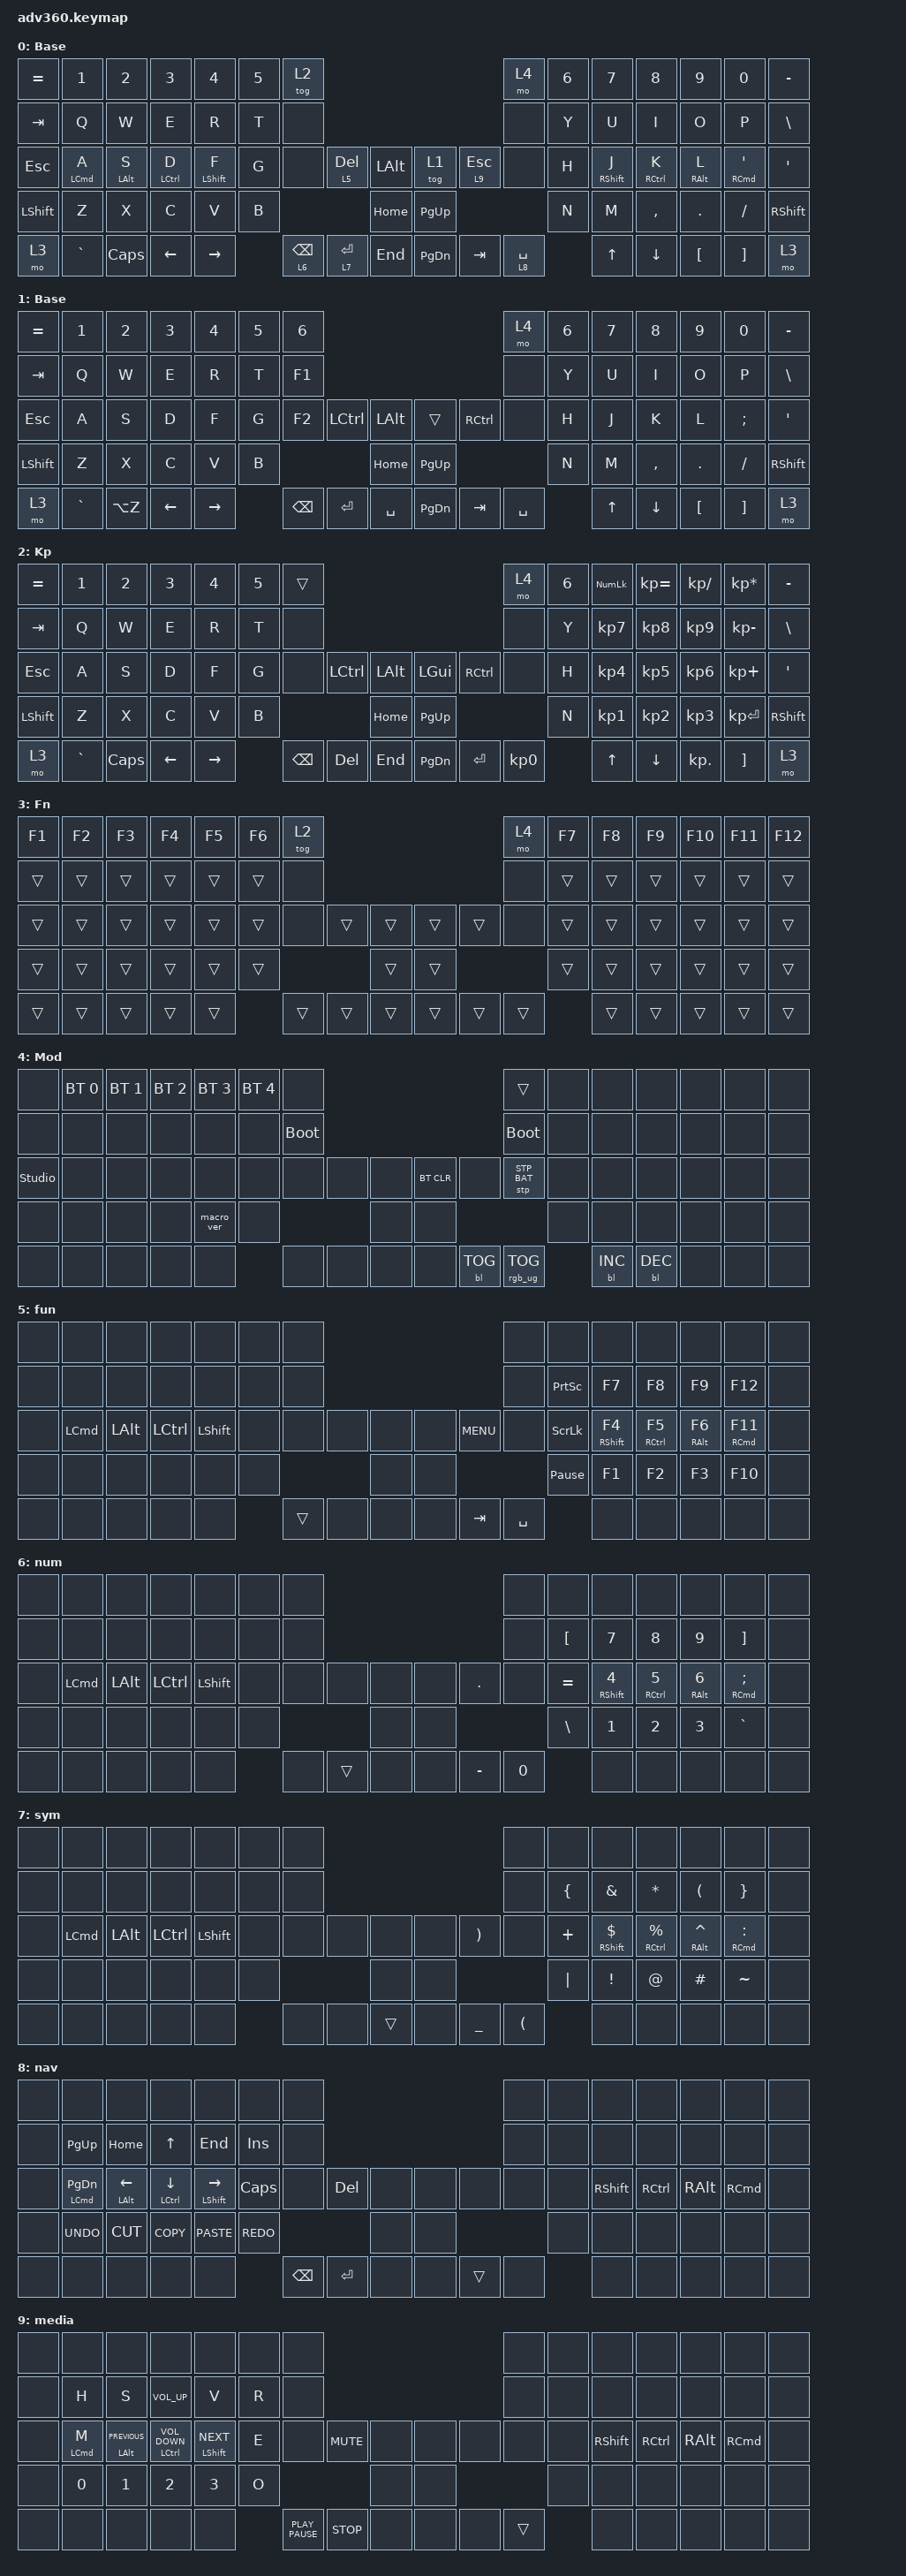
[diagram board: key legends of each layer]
#include <dt-bindings/zmk/stp.h>
#include <behaviors.dtsi>
#include <dt-bindings/zmk/backlight.h>
#include <dt-bindings/zmk/bt.h>
#include <dt-bindings/zmk/keys.h>
#include <dt-bindings/zmk/rgb.h>

&lt {
    tapping-term-ms = <180>;
    quick-tap-ms = <160>;
    require-prior-idle-ms = <0>;
    flavor = "balanced";
};

/ {
    behaviors {
        #include "macros.dtsi"
      #include "version.dtsi"

        hm: homerow_mods {
            compatible = "zmk,behavior-hold-tap";
            label = "HOMEROW_MODS";
            #binding-cells = <2>;
            tapping-term-ms = <180>;
            flavor = "balanced";
            bindings = <&kp>, <&kp>;

            quick-tap-ms = <160>;
            require-prior-idle-ms = <0>;
        };
    };

    combos { compatible = "zmk,combos"; };

    keymap {
        compatible = "zmk,keymap";

        default_layer {
            display-name = "Base";
            bindings = <
&kp EQUAL  &kp N1              &kp N2          &kp N3              &kp N4            &kp N5  &tog 2                                                                   &mo 4        &kp N6  &kp N7             &kp N8               &kp N9           &kp N0                 &kp MINUS
&kp TAB    &kp Q               &kp W           &kp E               &kp R             &kp T   &none                                                                    &none        &kp Y   &kp U              &kp I                &kp O            &kp P                  &kp BSLH
&kp ESC    &hm LEFT_COMMAND A  &hm LEFT_ALT S  &hm LEFT_CONTROL D  &hm LEFT_SHIFT F  &kp G   &none            &lt 5 DEL    &kp LALT      &tog 1         &lt 9 ESCAPE  &none        &kp H   &hm RIGHT_SHIFT J  &hm RIGHT_CONTROL K  &hm RIGHT_ALT L  &hm RCMD SINGLE_QUOTE  &kp SQT
&kp LSHFT  &kp Z               &kp X           &kp C               &kp V             &kp B                                 &kp HOME      &kp PG_UP                                 &kp N   &kp M              &kp COMMA            &kp DOT          &kp FSLH               &kp RSHFT
&mo 3      &kp GRAVE           &kp CAPS        &kp LEFT            &kp RIGHT                 &lt 6 BACKSPACE  &lt 7 ENTER  &kp END       &kp PAGE_DOWN  &kp TAB       &lt 8 SPACE          &kp UP             &kp DOWN             &kp LBKT         &kp RBKT               &mo 3
            >;
        };

        dota {
            display-name = "Base";
            bindings = <
&kp EQUAL  &kp N1     &kp N2     &kp N3    &kp N4     &kp N5  &kp NUMBER_6                                                       &mo 4      &kp N6  &kp N7  &kp N8     &kp N9    &kp N0    &kp MINUS
&kp TAB    &kp Q      &kp W      &kp E     &kp R      &kp T   &kp F1                                                             &none      &kp Y   &kp U   &kp I      &kp O     &kp P     &kp BSLH
&kp ESC    &kp A      &kp S      &kp D     &kp F      &kp G   &kp F2         &kp LCTRL  &kp LALT       &trans         &kp RCTRL  &none      &kp H   &kp J   &kp K      &kp L     &kp SEMI  &kp SQT
&kp LSHFT  &kp Z      &kp X      &kp C     &kp V      &kp B                             &kp HOME       &kp PG_UP                            &kp N   &kp M   &kp COMMA  &kp DOT   &kp FSLH  &kp RSHFT
&mo 3      &kp GRAVE  &kp LA(Z)  &kp LEFT  &kp RIGHT          &kp BACKSPACE  &kp ENTER  &kp SPACE      &kp PAGE_DOWN  &kp TAB    &kp SPACE          &kp UP  &kp DOWN   &kp LBKT  &kp RBKT  &mo 3
            >;
        };

        keypad {
            display-name = "Kp";
            bindings = <
&kp EQUAL  &kp N1     &kp N2    &kp N3    &kp N4     &kp N5  &trans                                                   &mo 4      &kp N6  &kp KP_NUM  &kp KP_EQUAL  &kp KP_DIVIDE  &kp KP_MULTIPLY  &kp MINUS
&kp TAB    &kp Q      &kp W     &kp E     &kp R      &kp T   &none                                                    &none      &kp Y   &kp KP_N7   &kp KP_N8     &kp KP_N9      &kp KP_MINUS     &kp BSLH
&kp ESC    &kp A      &kp S     &kp D     &kp F      &kp G   &none     &kp LCTRL  &kp LALT      &kp LGUI   &kp RCTRL  &none      &kp H   &kp KP_N4   &kp KP_N5     &kp KP_N6      &kp KP_PLUS      &kp SQT
&kp LSHFT  &kp Z      &kp X     &kp C     &kp V      &kp B                        &kp HOME      &kp PG_UP                        &kp N   &kp KP_N1   &kp KP_N2     &kp KP_N3      &kp KP_ENTER     &kp RSHFT
&mo 3      &kp GRAVE  &kp CAPS  &kp LEFT  &kp RIGHT          &kp BSPC  &kp DEL    &kp END       &kp PG_DN  &kp ENTER  &kp KP_N0          &kp UP      &kp DOWN      &kp KP_DOT     &kp RBKT         &mo 3
            >;
        };

        fn {
            display-name = "Fn";
            bindings = <
&kp F1  &kp F2  &kp F3  &kp F4  &kp F5  &kp F6  &tog 2                                      &mo 4   &kp F7  &kp F8  &kp F9  &kp F10  &kp F11  &kp F12
&trans  &trans  &trans  &trans  &trans  &trans  &none                                       &none   &trans  &trans  &trans  &trans   &trans   &trans
&trans  &trans  &trans  &trans  &trans  &trans  &none   &trans  &trans      &trans  &trans  &none   &trans  &trans  &trans  &trans   &trans   &trans
&trans  &trans  &trans  &trans  &trans  &trans                  &trans      &trans                  &trans  &trans  &trans  &trans   &trans   &trans
&trans  &trans  &trans  &trans  &trans          &trans  &trans  &trans      &trans  &trans  &trans          &trans  &trans  &trans   &trans   &trans
            >;
        };

        mod {
            display-name = "Mod";
            bindings = <
&none           &bt BT_SEL 0  &bt BT_SEL 1  &bt BT_SEL 2  &bt BT_SEL 3  &bt BT_SEL 4  &none                                                  &trans           &none  &none       &none       &none  &none  &none
&none           &none         &none         &none         &none         &none         &bootloader                                            &bootloader      &none  &none       &none       &none  &none  &none
&studio_unlock  &none         &none         &none         &none         &none         &none        &none  &none      &bt BT_CLR  &none       &stp STP_BAT     &none  &none       &none       &none  &none  &none
&none           &none         &none         &none         &macro_ver    &none                             &none      &none                                    &none  &none       &none       &none  &none  &none
&none           &none         &none         &none         &none                       &none        &none  &none      &none       &bl BL_TOG  &rgb_ug RGB_TOG         &bl BL_INC  &bl BL_DEC  &none  &none  &none
            >;
        };

        fun {
            bindings = <
&none  &none     &none         &none             &none           &none  &none                                        &none      &none            &none               &none                 &none             &none                  &none
&none  &none     &none         &none             &none           &none  &none                                        &none      &kp PRINTSCREEN  &kp F7              &kp F8                &kp F9            &kp F12                &none
&none  &kp LCMD  &kp LEFT_ALT  &kp LEFT_CONTROL  &kp LEFT_SHIFT  &none  &none   &none  &none      &none  &kp K_MENU  &none      &kp SCROLLLOCK   &hm RIGHT_SHIFT F4  &hm RIGHT_CONTROL F5  &hm RIGHT_ALT F6  &hm RIGHT_COMMAND F11  &none
&none  &none     &none         &none             &none           &none                 &none      &none                         &kp PAUSE_BREAK  &kp F1              &kp F2                &kp F3            &kp F10                &none
&none  &none     &none         &none             &none                  &trans  &none  &none      &none  &kp TAB     &kp SPACE                   &none               &none                 &none             &none                  &none
            >;
        };

        num {
            bindings = <
&none  &none     &none         &none             &none           &none  &none                                        &none   &none             &none                     &none                 &none                   &none                        &none
&none  &none     &none         &none             &none           &none  &none                                        &none   &kp LEFT_BRACKET  &kp N7                    &kp N8                &kp N9                  &kp RIGHT_BRACKET            &none
&none  &kp LCMD  &kp LEFT_ALT  &kp LEFT_CONTROL  &kp LEFT_SHIFT  &none  &none  &none   &none      &none  &kp PERIOD  &none   &kp EQUAL         &hm RIGHT_SHIFT NUMBER_4  &hm RIGHT_CONTROL N5  &hm RIGHT_ALT NUMBER_6  &hm RIGHT_COMMAND SEMICOLON  &none
&none  &none     &none         &none             &none           &none                 &none      &none                      &kp BACKSLASH     &kp NUMBER_1              &kp NUMBER_2          &kp NUMBER_3            &kp GRAVE                    &none
&none  &none     &none         &none             &none                  &none  &trans  &none      &none  &kp MINUS   &kp N0                    &none                     &none                 &none                   &none                        &none
            >;
        };

        sym {
            bindings = <
&none  &none     &none         &none             &none           &none  &none                                       &none     &none           &none                   &none                      &none                &none                    &none
&none  &none     &none         &none             &none           &none  &none                                       &none     &kp LEFT_BRACE  &kp AMPERSAND           &kp ASTRK                  &kp LPAR             &kp RIGHT_BRACE          &none
&none  &kp LCMD  &kp LEFT_ALT  &kp LEFT_CONTROL  &kp LEFT_SHIFT  &none  &none  &none  &none       &none  &kp RPAR   &none     &kp PLUS        &hm RIGHT_SHIFT DOLLAR  &hm RIGHT_CONTROL PERCENT  &hm RIGHT_ALT CARET  &hm RIGHT_COMMAND COLON  &none
&none  &none     &none         &none             &none           &none                &none       &none                       &kp PIPE        &kp EXCL                &kp AT                     &kp HASH             &kp TILDE                &none
&none  &none     &none         &none             &none                  &none  &none  &trans      &none  &kp UNDER  &kp LPAR                  &none                   &none                      &none                &none                    &none
            >;
        };

        nav {
            bindings = <
&none  &none                       &none              &none                  &none                 &none         &none                                               &none  &none  &none            &none              &none          &none     &none
&none  &kp PAGE_UP                 &kp HOME           &kp UP_ARROW           &kp END               &kp INSERT    &none                                               &none  &none  &none            &none              &none          &none     &none
&none  &hm LEFT_COMMAND PAGE_DOWN  &hm LEFT_ALT LEFT  &hm LEFT_CONTROL DOWN  &hm LEFT_SHIFT RIGHT  &kp CAPSLOCK  &none          &kp DEL    &none      &none  &none   &none  &none  &kp RIGHT_SHIFT  &kp RIGHT_CONTROL  &kp RIGHT_ALT  &kp RCMD  &none
&none  &kp K_UNDO                  &kp K_CUT          &kp K_COPY             &kp K_PASTE           &kp K_REDO                              &none      &none                 &none  &none            &none              &none          &none     &none
&none  &none                       &none              &none                  &none                               &kp BACKSPACE  &kp ENTER  &none      &none  &trans  &none         &none            &none              &none          &none     &none
            >;
        };

        media {
            bindings = <
&none  &none               &none                    &none                           &none                  &none  &none                                                  &none   &none  &none            &none              &none          &none     &none
&none  &kp H               &kp S                    &kp C_VOLUME_UP                 &kp V                  &kp R  &none                                                  &none   &none  &none            &none              &none          &none     &none
&none  &hm LEFT_COMMAND M  &hm LEFT_ALT K_PREVIOUS  &hm LEFT_CONTROL C_VOLUME_DOWN  &hm LEFT_SHIFT K_NEXT  &kp E  &none             &kp K_MUTE  &none      &none  &none  &none   &none  &kp RIGHT_SHIFT  &kp RIGHT_CONTROL  &kp RIGHT_ALT  &kp RCMD  &none
&none  &kp N0              &kp NUMBER_1             &kp NUMBER_2                    &kp NUMBER_3           &kp O                                &none      &none                 &none  &none            &none              &none          &none     &none
&none  &none               &none                    &none                           &none                         &kp K_PLAY_PAUSE  &kp K_STOP  &none      &none  &none  &trans         &none            &none              &none          &none     &none
            >;
        };
    };
};
